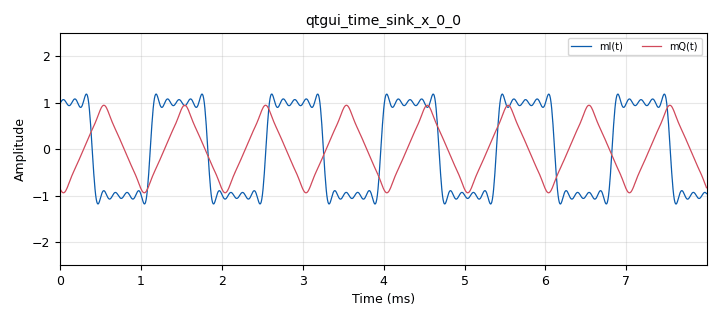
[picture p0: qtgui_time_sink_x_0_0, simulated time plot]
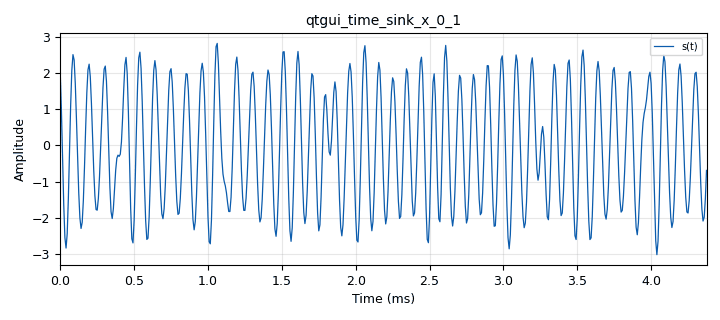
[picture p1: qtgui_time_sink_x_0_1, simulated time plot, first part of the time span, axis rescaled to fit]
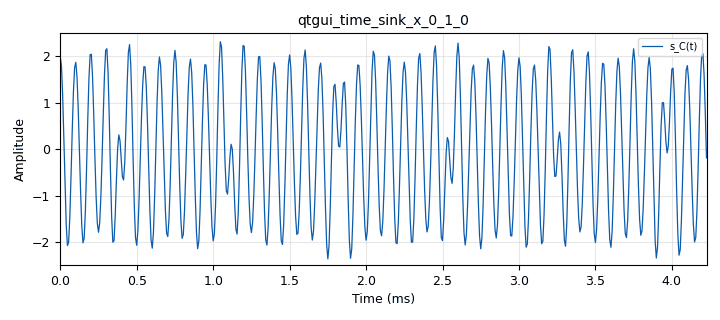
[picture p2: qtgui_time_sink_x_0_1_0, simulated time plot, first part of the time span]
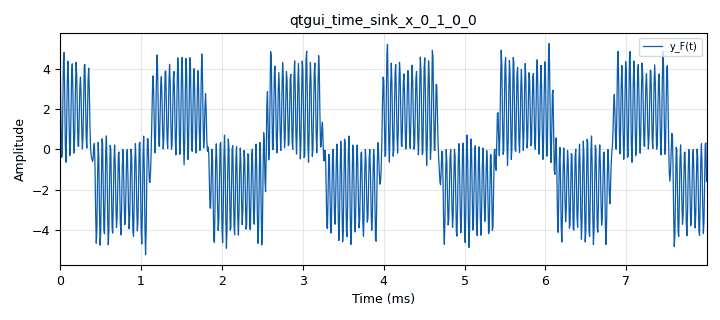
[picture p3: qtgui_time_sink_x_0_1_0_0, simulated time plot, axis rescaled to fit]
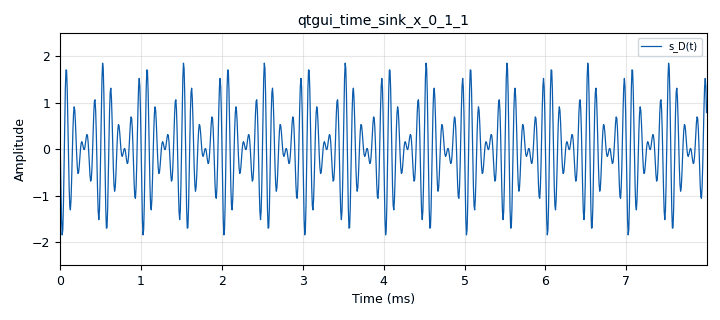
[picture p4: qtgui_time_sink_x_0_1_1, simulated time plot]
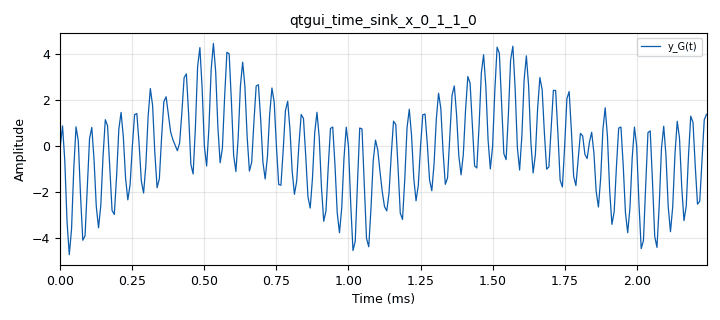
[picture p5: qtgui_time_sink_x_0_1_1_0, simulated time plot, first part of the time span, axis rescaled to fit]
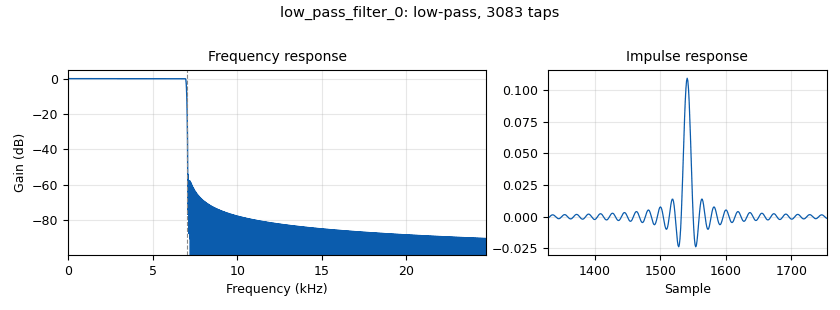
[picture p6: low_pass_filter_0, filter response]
<?xml version='1.0' encoding='utf-8'?>
<?grc format='1' created='3.7.9'?>
<flow_graph>
<block>
<key>options</key>
<param><key>id</key><value>top_block</value></param>
<param><key>category</key><value>Custom</value></param>
<param><key>generate_options</key><value>qt_gui</value></param>
</block>
<block>
<key>variable</key>
<param><key>id</key><value>samp_rate</value></param>
<param><key>value</key><value>128000</value></param>
</block>
<block>
<key>qtgui_tab_widget</key>
<param><key>id</key><value>aba</value></param>
<param><key>label0</key><value>sinais modulantes (A e B)</value></param>
<param><key>label1</key><value>C</value></param>
<param><key>label2</key><value>D</value></param>
<param><key>label3</key><value>sinal transmitido s(t) (E)</value></param>
<param><key>label4</key><value>F</value></param>
<param><key>label5</key><value>G</value></param>
<param><key>label6</key><value>sinais recuperados (H e I)</value></param>
<param><key>num_tabs</key><value>7</value></param>
</block>
<block>
<key>analog_sig_source_x</key>
<param><key>id</key><value>analog_sig_source_x_0</value></param>
<param><key>amp</key><value>2</value></param>
<param><key>freq</key><value>10000</value></param>
<param><key>offset</key><value>0</value></param>
<param><key>type</key><value>float</value></param>
<param><key>samp_rate</key><value>samp_rate</value></param>
<param><key>waveform</key><value>analog.GR_COS_WAVE</value></param>
</block>
<block>
<key>analog_sig_source_x</key>
<param><key>id</key><value>analog_sig_source_x_0_0</value></param>
<param><key>amp</key><value>2</value></param>
<param><key>freq</key><value>10000</value></param>
<param><key>offset</key><value>0</value></param>
<param><key>type</key><value>float</value></param>
<param><key>samp_rate</key><value>samp_rate</value></param>
<param><key>waveform</key><value>analog.GR_COS_WAVE</value></param>
</block>
<block>
<key>analog_sig_source_x</key>
<param><key>id</key><value>analog_sig_source_x_1</value></param>
<param><key>amp</key><value>2</value></param>
<param><key>freq</key><value>10000</value></param>
<param><key>offset</key><value>0</value></param>
<param><key>type</key><value>float</value></param>
<param><key>samp_rate</key><value>samp_rate</value></param>
<param><key>waveform</key><value>analog.GR_SIN_WAVE</value></param>
</block>
<block>
<key>analog_sig_source_x</key>
<param><key>id</key><value>analog_sig_source_x_1_0</value></param>
<param><key>amp</key><value>2</value></param>
<param><key>freq</key><value>10000</value></param>
<param><key>offset</key><value>0</value></param>
<param><key>type</key><value>float</value></param>
<param><key>samp_rate</key><value>samp_rate</value></param>
<param><key>waveform</key><value>analog.GR_SIN_WAVE</value></param>
</block>
<block>
<key>analog_sig_source_x</key>
<param><key>id</key><value>analog_sig_source_x_1_1</value></param>
<param><key>amp</key><value>2</value></param>
<param><key>freq</key><value>1000</value></param>
<param><key>offset</key><value>-1</value></param>
<param><key>type</key><value>float</value></param>
<param><key>samp_rate</key><value>samp_rate</value></param>
<param><key>waveform</key><value>analog.GR_TRI_WAVE</value></param>
</block>
<block>
<key>analog_sig_source_x</key>
<param><key>id</key><value>analog_sig_source_x_1_2</value></param>
<param><key>amp</key><value>2</value></param>
<param><key>freq</key><value>700</value></param>
<param><key>offset</key><value>-1</value></param>
<param><key>type</key><value>float</value></param>
<param><key>samp_rate</key><value>samp_rate</value></param>
<param><key>waveform</key><value>analog.GR_SQR_WAVE</value></param>
</block>
<block>
<key>blocks_add_xx</key>
<param><key>id</key><value>blocks_add_xx_0</value></param>
<param><key>type</key><value>float</value></param>
</block>
<block>
<key>blocks_multiply_xx</key>
<param><key>id</key><value>blocks_multiply_xx_0</value></param>
<param><key>type</key><value>float</value></param>
</block>
<block>
<key>blocks_multiply_xx</key>
<param><key>id</key><value>blocks_multiply_xx_0_0</value></param>
<param><key>type</key><value>float</value></param>
</block>
<block>
<key>blocks_multiply_xx</key>
<param><key>id</key><value>blocks_multiply_xx_0_0_0</value></param>
<param><key>type</key><value>float</value></param>
</block>
<block>
<key>blocks_multiply_xx</key>
<param><key>id</key><value>blocks_multiply_xx_0_1</value></param>
<param><key>type</key><value>float</value></param>
</block>
<block>
<key>low_pass_filter</key>
<param><key>id</key><value>low_pass_filter_0</value></param>
<param><key>cutoff_freq</key><value>7000</value></param>
<param><key>decim</key><value>1</value></param>
<param><key>type</key><value>fir_filter_fff</value></param>
<param><key>gain</key><value>1</value></param>
<param><key>samp_rate</key><value>samp_rate</value></param>
<param><key>width</key><value>100</value></param>
<param><key>win</key><value>firdes.WIN_HAMMING</value></param>
</block>
<block>
<key>low_pass_filter</key>
<param><key>id</key><value>low_pass_filter_0_0</value></param>
<param><key>cutoff_freq</key><value>7000</value></param>
<param><key>decim</key><value>1</value></param>
<param><key>type</key><value>fir_filter_fff</value></param>
<param><key>gain</key><value>1</value></param>
<param><key>samp_rate</key><value>samp_rate</value></param>
<param><key>width</key><value>100</value></param>
<param><key>win</key><value>firdes.WIN_HAMMING</value></param>
</block>
<block>
<key>low_pass_filter</key>
<param><key>id</key><value>low_pass_filter_0_0_0</value></param>
<param><key>cutoff_freq</key><value>7000</value></param>
<param><key>decim</key><value>1</value></param>
<param><key>type</key><value>fir_filter_fff</value></param>
<param><key>gain</key><value>1</value></param>
<param><key>samp_rate</key><value>samp_rate</value></param>
<param><key>width</key><value>100</value></param>
<param><key>win</key><value>firdes.WIN_HAMMING</value></param>
</block>
<block>
<key>low_pass_filter</key>
<param><key>id</key><value>low_pass_filter_0_1</value></param>
<param><key>cutoff_freq</key><value>7000</value></param>
<param><key>decim</key><value>1</value></param>
<param><key>type</key><value>fir_filter_fff</value></param>
<param><key>gain</key><value>1</value></param>
<param><key>samp_rate</key><value>samp_rate</value></param>
<param><key>width</key><value>100</value></param>
<param><key>win</key><value>firdes.WIN_HAMMING</value></param>
</block>
<block>
<key>qtgui_time_sink_x</key>
<param><key>id</key><value>qtgui_time_sink_x_0_0</value></param>
<param><key>ctrlpanel</key><value>True</value></param>
<param><key>gui_hint</key><value>aba@0</value></param>
<param><key>grid</key><value>True</value></param>
<param><key>color1</key><value>"dark red"</value></param>
<param><key>label1</key><value>mI(t)</value></param>
<param><key>color2</key><value>"Dark Blue"</value></param>
<param><key>label2</key><value>mQ(t)</value></param>
<param><key>nconnections</key><value>2</value></param>
<param><key>size</key><value>1024</value></param>
<param><key>srate</key><value>samp_rate</value></param>
<param><key>type</key><value>float</value></param>
<param><key>ymax</key><value>2.5</value></param>
<param><key>ymin</key><value>-2.5</value></param>
</block>
<block>
<key>qtgui_time_sink_x</key>
<param><key>id</key><value>qtgui_time_sink_x_0_1</value></param>
<param><key>ctrlpanel</key><value>True</value></param>
<param><key>gui_hint</key><value>aba@3</value></param>
<param><key>grid</key><value>True</value></param>
<param><key>color1</key><value>"dark green"</value></param>
<param><key>label1</key><value>s(t)</value></param>
<param><key>size</key><value>1024</value></param>
<param><key>srate</key><value>samp_rate</value></param>
<param><key>type</key><value>float</value></param>
<param><key>ymax</key><value>2.5</value></param>
<param><key>ymin</key><value>-2.5</value></param>
</block>
<block>
<key>qtgui_time_sink_x</key>
<param><key>id</key><value>qtgui_time_sink_x_0_1_0</value></param>
<param><key>ctrlpanel</key><value>True</value></param>
<param><key>gui_hint</key><value>aba@1</value></param>
<param><key>grid</key><value>True</value></param>
<param><key>color1</key><value>"red"</value></param>
<param><key>label1</key><value>s_C(t)</value></param>
<param><key>size</key><value>1024</value></param>
<param><key>srate</key><value>samp_rate</value></param>
<param><key>type</key><value>float</value></param>
<param><key>ymax</key><value>2.5</value></param>
<param><key>ymin</key><value>-2.5</value></param>
</block>
<block>
<key>qtgui_time_sink_x</key>
<param><key>id</key><value>qtgui_time_sink_x_0_1_0_0</value></param>
<param><key>ctrlpanel</key><value>True</value></param>
<param><key>gui_hint</key><value>aba@4</value></param>
<param><key>grid</key><value>True</value></param>
<param><key>color1</key><value>"red"</value></param>
<param><key>label1</key><value>y_F(t)</value></param>
<param><key>size</key><value>1024</value></param>
<param><key>srate</key><value>samp_rate</value></param>
<param><key>type</key><value>float</value></param>
<param><key>ymax</key><value>2.5</value></param>
<param><key>ymin</key><value>-2.5</value></param>
</block>
<block>
<key>qtgui_time_sink_x</key>
<param><key>id</key><value>qtgui_time_sink_x_0_1_1</value></param>
<param><key>ctrlpanel</key><value>True</value></param>
<param><key>gui_hint</key><value>aba@2</value></param>
<param><key>grid</key><value>True</value></param>
<param><key>color1</key><value>"blue"</value></param>
<param><key>label1</key><value>s_D(t)</value></param>
<param><key>size</key><value>1024</value></param>
<param><key>srate</key><value>samp_rate</value></param>
<param><key>type</key><value>float</value></param>
<param><key>ymax</key><value>2.5</value></param>
<param><key>ymin</key><value>-2.5</value></param>
</block>
<block>
<key>qtgui_time_sink_x</key>
<param><key>id</key><value>qtgui_time_sink_x_0_1_1_0</value></param>
<param><key>ctrlpanel</key><value>True</value></param>
<param><key>gui_hint</key><value>aba@5</value></param>
<param><key>grid</key><value>True</value></param>
<param><key>color1</key><value>"blue"</value></param>
<param><key>label1</key><value>y_G(t)</value></param>
<param><key>size</key><value>1024</value></param>
<param><key>srate</key><value>samp_rate</value></param>
<param><key>type</key><value>float</value></param>
<param><key>ymax</key><value>2.5</value></param>
<param><key>ymin</key><value>-2.5</value></param>
</block>
<block>
<key>qtgui_time_sink_x</key>
<param><key>id</key><value>qtgui_time_sink_x_0_2</value></param>
<param><key>ctrlpanel</key><value>True</value></param>
<param><key>gui_hint</key><value>aba@6</value></param>
<param><key>grid</key><value>True</value></param>
<param><key>color1</key><value>"red"</value></param>
<param><key>label1</key><value>mI(t)</value></param>
<param><key>color2</key><value>"blue"</value></param>
<param><key>label2</key><value>mQ(t)</value></param>
<param><key>nconnections</key><value>2</value></param>
<param><key>size</key><value>1024</value></param>
<param><key>srate</key><value>samp_rate</value></param>
<param><key>type</key><value>float</value></param>
<param><key>ymax</key><value>2.5</value></param>
<param><key>ymin</key><value>-2.5</value></param>
</block>
<connection><source_block_id>analog_sig_source_x_0</source_block_id><sink_block_id>blocks_multiply_xx_0</sink_block_id><source_key>0</source_key><sink_key>0</sink_key></connection>
<connection><source_block_id>analog_sig_source_x_0_0</source_block_id><sink_block_id>blocks_multiply_xx_0_1</sink_block_id><source_key>0</source_key><sink_key>0</sink_key></connection>
<connection><source_block_id>analog_sig_source_x_1</source_block_id><sink_block_id>blocks_multiply_xx_0_0</sink_block_id><source_key>0</source_key><sink_key>1</sink_key></connection>
<connection><source_block_id>analog_sig_source_x_1_0</source_block_id><sink_block_id>blocks_multiply_xx_0_0_0</sink_block_id><source_key>0</source_key><sink_key>1</sink_key></connection>
<connection><source_block_id>analog_sig_source_x_1_1</source_block_id><sink_block_id>low_pass_filter_0_0_0</sink_block_id><source_key>0</source_key><sink_key>0</sink_key></connection>
<connection><source_block_id>analog_sig_source_x_1_2</source_block_id><sink_block_id>low_pass_filter_0_1</sink_block_id><source_key>0</source_key><sink_key>0</sink_key></connection>
<connection><source_block_id>blocks_add_xx_0</source_block_id><sink_block_id>blocks_multiply_xx_0_0_0</sink_block_id><source_key>0</source_key><sink_key>0</sink_key></connection>
<connection><source_block_id>blocks_add_xx_0</source_block_id><sink_block_id>blocks_multiply_xx_0_1</sink_block_id><source_key>0</source_key><sink_key>1</sink_key></connection>
<connection><source_block_id>blocks_add_xx_0</source_block_id><sink_block_id>qtgui_time_sink_x_0_1</sink_block_id><source_key>0</source_key><sink_key>0</sink_key></connection>
<connection><source_block_id>blocks_multiply_xx_0</source_block_id><sink_block_id>blocks_add_xx_0</sink_block_id><source_key>0</source_key><sink_key>0</sink_key></connection>
<connection><source_block_id>blocks_multiply_xx_0</source_block_id><sink_block_id>qtgui_time_sink_x_0_1_0</sink_block_id><source_key>0</source_key><sink_key>0</sink_key></connection>
<connection><source_block_id>blocks_multiply_xx_0_0</source_block_id><sink_block_id>blocks_add_xx_0</sink_block_id><source_key>0</source_key><sink_key>1</sink_key></connection>
<connection><source_block_id>blocks_multiply_xx_0_0</source_block_id><sink_block_id>qtgui_time_sink_x_0_1_1</sink_block_id><source_key>0</source_key><sink_key>0</sink_key></connection>
<connection><source_block_id>blocks_multiply_xx_0_0_0</source_block_id><sink_block_id>low_pass_filter_0_0</sink_block_id><source_key>0</source_key><sink_key>0</sink_key></connection>
<connection><source_block_id>blocks_multiply_xx_0_0_0</source_block_id><sink_block_id>qtgui_time_sink_x_0_1_1_0</sink_block_id><source_key>0</source_key><sink_key>0</sink_key></connection>
<connection><source_block_id>blocks_multiply_xx_0_1</source_block_id><sink_block_id>low_pass_filter_0</sink_block_id><source_key>0</source_key><sink_key>0</sink_key></connection>
<connection><source_block_id>blocks_multiply_xx_0_1</source_block_id><sink_block_id>qtgui_time_sink_x_0_1_0_0</sink_block_id><source_key>0</source_key><sink_key>0</sink_key></connection>
<connection><source_block_id>low_pass_filter_0</source_block_id><sink_block_id>qtgui_time_sink_x_0_2</sink_block_id><source_key>0</source_key><sink_key>0</sink_key></connection>
<connection><source_block_id>low_pass_filter_0_0</source_block_id><sink_block_id>qtgui_time_sink_x_0_2</sink_block_id><source_key>0</source_key><sink_key>1</sink_key></connection>
<connection><source_block_id>low_pass_filter_0_0_0</source_block_id><sink_block_id>blocks_multiply_xx_0_0</sink_block_id><source_key>0</source_key><sink_key>0</sink_key></connection>
<connection><source_block_id>low_pass_filter_0_0_0</source_block_id><sink_block_id>qtgui_time_sink_x_0_0</sink_block_id><source_key>0</source_key><sink_key>1</sink_key></connection>
<connection><source_block_id>low_pass_filter_0_1</source_block_id><sink_block_id>blocks_multiply_xx_0</sink_block_id><source_key>0</source_key><sink_key>1</sink_key></connection>
<connection><source_block_id>low_pass_filter_0_1</source_block_id><sink_block_id>qtgui_time_sink_x_0_0</sink_block_id><source_key>0</source_key><sink_key>0</sink_key></connection>
</flow_graph>
